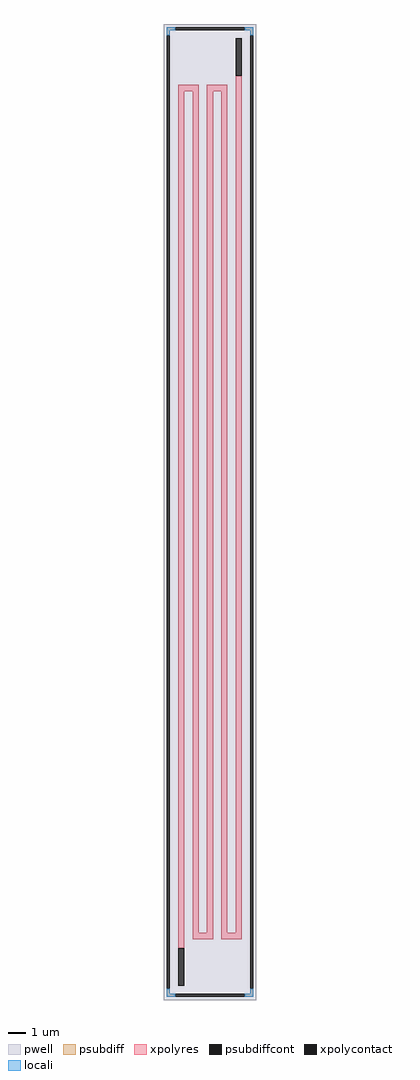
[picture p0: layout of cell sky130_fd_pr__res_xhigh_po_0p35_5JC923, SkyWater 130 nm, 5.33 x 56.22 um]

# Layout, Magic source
magic
tech sky130A
magscale 1 2
<< pwell >>
rect -533 -5622 533 5622
<< psubdiff >>
rect -497 5552 -401 5586
rect 401 5552 497 5586
rect -497 5490 -463 5552
rect 463 5490 497 5552
rect -497 -5552 -463 -5490
rect 463 -5552 497 -5490
rect -497 -5586 -401 -5552
rect 401 -5586 497 -5552
<< psubdiffcont >>
rect -401 5552 401 5586
rect -497 -5490 -463 5490
rect 463 -5490 497 5490
rect -401 -5586 401 -5552
<< xpolycontact >>
rect 297 5024 367 5456
rect -367 -5456 -297 -5024
<< xpolyres >>
rect -367 4850 -131 4920
rect -367 -5024 -297 4850
rect -201 -4850 -131 4850
rect -35 4850 201 4920
rect -35 -4850 35 4850
rect -201 -4920 35 -4850
rect 131 -4850 201 4850
rect 297 -4850 367 5024
rect 131 -4920 367 -4850
<< locali >>
rect -497 5552 -401 5586
rect 401 5552 497 5586
rect -497 5490 -463 5552
rect 463 5490 497 5552
rect -497 -5552 -463 -5490
rect 463 -5552 497 -5490
rect -497 -5586 -401 -5552
rect 401 -5586 497 -5552
<< properties >>
string FIXED_BBOX -480 -5569 480 5569
string gencell sky130_fd_pr__res_xhigh_po_0p35
string library sky130
string parameters w 0.35 l 49.2 m 1 nx 5 wmin 0.350 lmin 0.50 rho 2000 val 1.414meg dummy 0 dw 0.0 term 188.2 sterm 0.0 caplen 0 wmax 0.350 guard 1 glc 1 grc 1 gtc 1 gbc 1 compatible {sky130_fd_pr__res_xhigh_po_0p35  sky130_fd_pr__res_xhigh_po_0p69 sky130_fd_pr__res_xhigh_po_1p41  sky130_fd_pr__res_xhigh_po_2p85 sky130_fd_pr__res_xhigh_po_5p73} snake 1 full_metal 1 n_guard 0 hv_guard 0 vias 1 viagb 0 viagt 0 viagl 0 viagr 0
<< end >>
